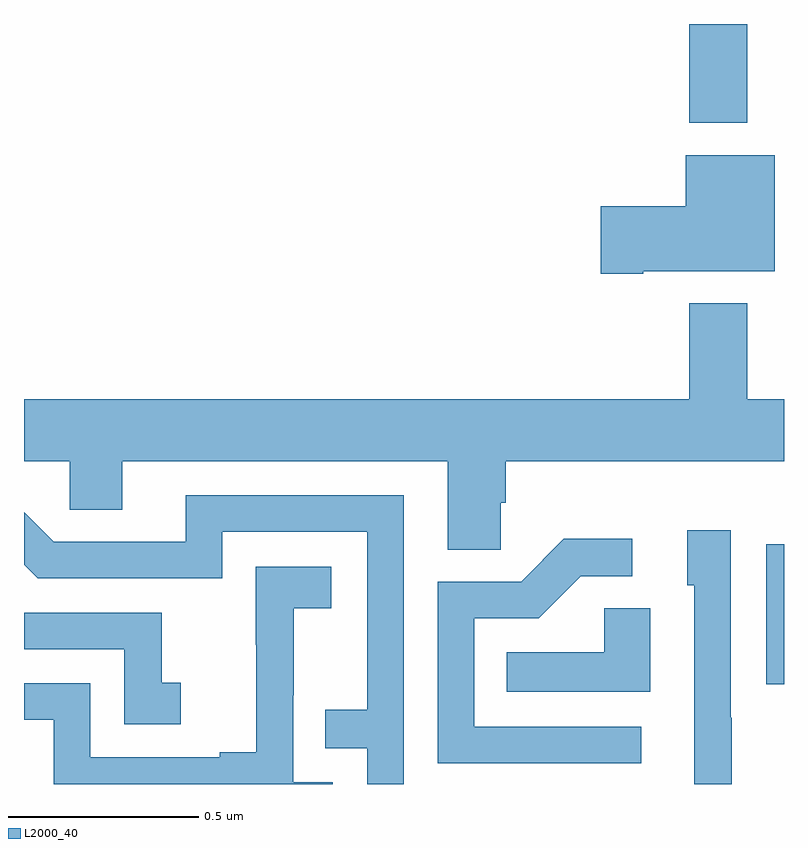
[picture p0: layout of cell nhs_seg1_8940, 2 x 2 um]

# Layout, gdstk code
import gdstk
lib = gdstk.Library(unit=1e-6, precision=1e-09)
def R(c, l, rs):  # rectangles x0, y0, x1, y1
    for r in rs: c.add(gdstk.rectangle(r[:2], r[2:], *l))
def P(c, l, *ps):  # polygons
    for p in ps: c.add(gdstk.Polygon(p, *l))
L2000_40 = (2000, 40)

nhs_seg1_8940 = lib.new_cell('nhs_seg1_8940')
R(nhs_seg1_8940, L2000_40, [(223.953,568.461,224,568.83), (223.751,569.939,223.903,570.199)])
P(nhs_seg1_8940, L2000_40, [(223.63,569.549),(223.975,569.549),(223.975,569.854),(223.742,569.854),(223.742,569.72),(223.518,569.72),(223.518,569.542),(223.63,569.542)],
  [(223.254,568.939),(223.268,568.939),(223.268,569.048),(224,569.048),(224,569.212),(223.903,569.212),(223.903,569.464),(223.751,569.464),(223.751,569.212),(222,569.212),(222,569.048),(222.12,569.048),(222.12,568.921),(222.259,568.921),(222.259,569.048),(223.115,569.048),(223.115,568.816),(223.254,568.816)],
  [(222.999,568.959),(222.425,568.959),(222.425,568.836),(222.078,568.836),(222,568.914),(222,568.776),(222.036,568.74),(222.522,568.74),(222.522,568.863),(222.903,568.863),(222.903,568.394),(222.793,568.394),(222.793,568.293),(222.903,568.293),(222.903,568.199),(222.999,568.199)],
  [(223.863,568.373),(223.86,568.373),(223.86,568.867),(223.745,568.867),(223.745,568.722),(223.764,568.722),(223.764,568.199),(223.863,568.199)],
  [(223.624,568.35),(223.185,568.35),(223.185,568.635),(223.354,568.635),(223.465,568.746),(223.6,568.746),(223.6,568.844),(223.421,568.844),(223.308,568.731),(223.089,568.731),(223.089,568.254),(223.624,568.254)],
  [(222.813,568.203),(222.708,568.203),(222.708,568.433),(222.71,568.433),(222.71,568.661),(222.808,568.661),(222.808,568.771),(222.61,568.771),(222.61,568.565),(222.611,568.565),(222.611,568.282),(222.515,568.282),(222.515,568.269),(222.174,568.269),(222.174,568.464),(222,568.464),(222,568.368),(222.078,568.368),(222.078,568.199),(222.813,568.199)],
  [(223.648,568.661),(223.527,568.661),(223.527,568.546),(223.27,568.546),(223.27,568.442),(223.648,568.442)],
  [(222.412,568.465),(222.363,568.465),(222.363,568.65),(222,568.65),(222,568.554),(222.264,568.554),(222.264,568.356),(222.412,568.356)])

lib.write_gds('nhs_seg1_8940.gds')
